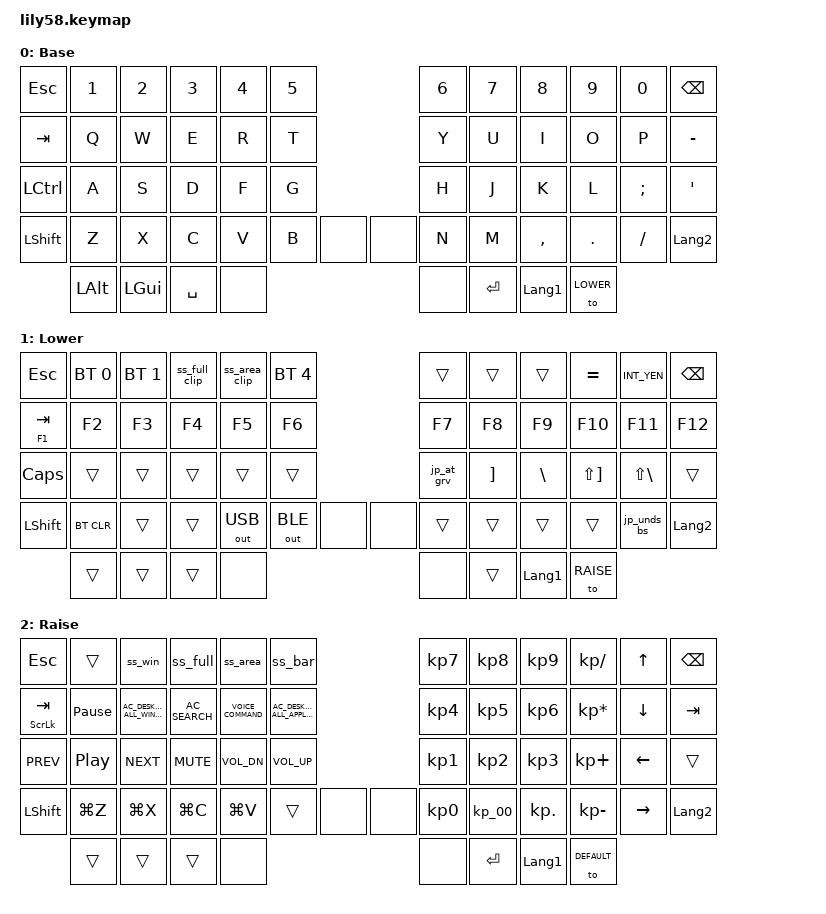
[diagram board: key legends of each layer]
/*
 * Silakka54 Mac + JIS向け（記号は Windows JIS の出し方に寄せる）
 *
 * Macのキーボード種別は「JIS」推奨。
 * ` = LOWER + Shift + @
 * \ = LOWER + Shift + _
 *
 * レイヤー切替（長押しなし・1キー順送り）:
 *   右親指外側「レイヤー」= Base → LOWER → RAISE → Base
 *   右上端 = Backspace（小指）
 * 英数 = 右手 Shift 位置（Base/LOWER/RAISE とも同じ）
 * 左Shift = 左手 Shift 位置（全レイヤー共通）
 * Ctrl = Aの左（Base）
 * Caps = LOWER の左端（A左）
 * かな = 右親指まん中
 * Tab = 短押しTab（全層）／長押し = LOWERでF1、RAISEで輝度-（Baseは長押しなし）
 *   RAISE右手↓右のTabは短押しのみ（テンキー用）
 * やり直しは Shift+戻す（Shift+⌘+Z）
 * LOWER 左手4段目 V/B = USB強制 / BLE強制（左手だけで出力切替）
 *
 * RAISE 左手3段目 = 再生系・消音・音量
 * RAISE 右手左4列 = テンキー（7 8 9 / / 4 5 6 * / 1 2 3 + / 0 00 . -）
 */

#include <behaviors.dtsi>
#include <dt-bindings/zmk/keys.h>
#include <dt-bindings/zmk/bt.h>
#include <dt-bindings/zmk/outputs.h>

#define DEFAULT 0
#define LOWER   1
#define RAISE   2

// Macキーボード種別=JIS のとき、意図した文字になるHID
#define JP_YEN   INT_YEN              // ¥
#define JP_PIPE  LS(INT_YEN)          // |
#define JP_AT    LEFT_BRACKET         // @
#define JP_LBRC  RIGHT_BRACKET        // [
#define JP_RBRC  BACKSLASH            // ]
#define JP_LCBR  LS(RIGHT_BRACKET)    // {
#define JP_RCBR  LS(BACKSLASH)        // }
#define JP_UNDS  LS(INT_RO)           // _（ろキー相当・Baseに無い）
// Mac JIS では \ は ⌥+¥。INT_RO（Windowsの\）では Mac に \ が出ない
#define JP_BSLS  LA(INT_YEN)          // \（Mac: Option+¥／操作は Shift+_）
#define JP_COLN  SINGLE_QUOTE         // :
#define JP_CIRC  EQUAL                // ^（Baseに^キーが無い）
#define JP_GRV   LS(LEFT_BRACKET)     // `（Windows JIS: Shift+@）
#define JP_KANA  LANGUAGE_1
#define JP_EISU  LANGUAGE_2

/ {
    behaviors {
        // 短押し優先の hold-tap（第1引数=長押し、第2引数=短押し）
        ht_tab: ht_tab {
            compatible = "zmk,behavior-hold-tap";
            #binding-cells = <2>;
            flavor = "tap-preferred";
            tapping-term-ms = <200>;
            quick-tap-ms = <150>;
            bindings = <&kp>, <&kp>;
        };
        // @ / `（Shiftでバッククォート）
        jp_at_grv: jp_at_grv {
            compatible = "zmk,behavior-mod-morph";
            #binding-cells = <0>;
            bindings = <&kp JP_AT>, <&kp JP_GRV>;
            mods = <(MOD_LSFT|MOD_RSFT)>;
        };
        // _ / \（見た目は Windows JIS: Shift+_ → \）
        // Mac 実体は Option+¥ を送る（INT_RO だと Mac では \ にならない）
        jp_unds_bs: jp_unds_bs {
            compatible = "zmk,behavior-mod-morph";
            #binding-cells = <0>;
            bindings = <&kp JP_UNDS>, <&kp JP_BSLS>;
            mods = <(MOD_LSFT|MOD_RSFT)>;
        };
    };

    macros {
        ss_full: ss_full {
            compatible = "zmk,behavior-macro";
            #binding-cells = <0>;
            bindings =
                <&macro_press &kp LSHFT &kp LGUI>,
                <&macro_tap &kp N3>,
                <&macro_release &kp LSHFT &kp LGUI>;
        };
        ss_area: ss_area {
            compatible = "zmk,behavior-macro";
            #binding-cells = <0>;
            bindings =
                <&macro_press &kp LSHFT &kp LGUI>,
                <&macro_tap &kp N4>,
                <&macro_release &kp LSHFT &kp LGUI>;
        };
        ss_bar: ss_bar {
            compatible = "zmk,behavior-macro";
            #binding-cells = <0>;
            bindings =
                <&macro_press &kp LSHFT &kp LGUI>,
                <&macro_tap &kp N5>,
                <&macro_release &kp LSHFT &kp LGUI>;
        };
        ss_full_clip: ss_full_clip {
            compatible = "zmk,behavior-macro";
            #binding-cells = <0>;
            bindings =
                <&macro_press &kp LCTRL &kp LSHFT &kp LGUI>,
                <&macro_tap &kp N3>,
                <&macro_release &kp LCTRL &kp LSHFT &kp LGUI>;
        };
        ss_area_clip: ss_area_clip {
            compatible = "zmk,behavior-macro";
            #binding-cells = <0>;
            bindings =
                <&macro_press &kp LCTRL &kp LSHFT &kp LGUI>,
                <&macro_tap &kp N4>,
                <&macro_release &kp LCTRL &kp LSHFT &kp LGUI>;
        };
        ss_win: ss_win {
            compatible = "zmk,behavior-macro";
            #binding-cells = <0>;
            bindings =
                <&macro_press &kp LSHFT &kp LGUI>,
                <&macro_tap &kp N4>,
                <&macro_release &kp LSHFT &kp LGUI>,
                <&macro_tap &kp SPACE>;
        };
        // テンキーの「00」
        kp_00: kp_00 {
            compatible = "zmk,behavior-macro";
            #binding-cells = <0>;
            bindings = <&macro_tap &kp KP_N0 &kp KP_N0>;
        };
    };

    keymap {
        compatible = "zmk,keymap";

        // Base
        // 右上=BS / 右親指外側=レイヤー→LOWER / A左=Ctrl / 右Shift位置=英数 / かな=親指まん中
        default_layer {
            display-name = "Base";
            bindings = <
&kp ESC        &kp N1 &kp N2 &kp N3 &kp N4 &kp N5                    &kp N6 &kp N7 &kp N8 &kp N9 &kp N0 &kp BSPC
&kp TAB        &kp Q  &kp W  &kp E  &kp R  &kp T                     &kp Y  &kp U  &kp I  &kp O  &kp P  &kp MINUS
&kp LCTRL      &kp A  &kp S  &kp D  &kp F  &kp G                     &kp H  &kp J  &kp K  &kp L  &kp SEMI &kp JP_COLN
&kp LSHFT      &kp Z  &kp X  &kp C  &kp V  &kp B  &none        &none &kp N  &kp M  &kp COMMA &kp DOT &kp FSLH &kp JP_EISU
               &kp LALT &kp LGUI &kp SPACE &none                 &none &kp ENTER &kp JP_KANA &to LOWER
            >;
        };

        // LOWER: Base+Shiftで出せない記号のみ（Windows JIS寄せ）+ CBスクショ + Caps
        // 省いた例: !"#$%&'()=~+*?  → Baseの Shift+数字 / ; : / -
        // | は Shift+¥ ／ ` は Shift+@ ／ \ は Shift+_（専用キーなし）
        // 右手上段: JIS数字列右端寄りに ^ ¥（⌫の直前）
        // 右手ホーム: @ [ ] { }（` は Shift+@）
        // 右手下段右: _（\ は Shift+_）
        // 左上は常にEsc（BT消は誤切断しやすいため下段Zへ移設）
        // Tab短押し=Tab／長押し=F1（F2〜F12は従来どおり）
        // 左手4段目 Z=BT消／V/B=USB/BLE（左手だけで無線復旧）
        // 右上=BS / 右親指外側=レイヤー→RAISE
        lower_layer {
            display-name = "Lower";
            bindings = <
&kp ESC        &bt BT_SEL 0 &bt BT_SEL 1 &ss_full_clip &ss_area_clip &bt BT_SEL 4    &trans &trans &trans &kp JP_CIRC &kp JP_YEN &kp BSPC
&ht_tab F1 TAB &kp F2       &kp F3       &kp F4        &kp F5        &kp F6          &kp F7 &kp F8 &kp F9 &kp F10 &kp F11 &kp F12
&kp CAPSLOCK   &trans       &trans       &trans        &trans        &trans          &jp_at_grv &kp JP_LBRC &kp JP_RBRC &kp JP_LCBR &kp JP_RCBR &trans
&kp LSHFT      &bt BT_CLR   &trans       &trans        &out OUT_USB  &out OUT_BLE &none &none &trans &trans &trans &trans &jp_unds_bs &kp JP_EISU
               &trans       &trans       &trans        &none                     &none &trans &kp JP_KANA &to RAISE
            >;
        };

        // RAISE:
        // 左手数字2〜5 = スクショ
        // 左手Q列 = Tab長押し=輝度-／輝度+・Mission等
        // 左手3段目 = 前へ/再生/次へ/消音/音量-/音量+
        // 左手下段 = 編集（やり直しは Shift+戻す）
        // 右手左4列 = テンキー / 5列目 = 矢印↑↓←→ / ↓右 = Tab短押し / 右上=BS
        //   7 8 9 /  ↑
        //   4 5 6 *  ↓ Tab
        //   1 2 3 +  ←
        //   0 00 . - →
        raise_layer {
            display-name = "Raise";
            bindings = <
&kp ESC        &trans            &ss_win      &ss_full     &ss_area     &ss_bar              &kp KP_N7 &kp KP_N8 &kp KP_N9 &kp KP_SLASH &kp UP &kp BSPC
&ht_tab SLCK TAB &kp PAUSE_BREAK &kp C_AC_DESKTOP_SHOW_ALL_WINDOWS &kp C_AC_SEARCH &kp C_VOICE_COMMAND &kp C_AC_DESKTOP_SHOW_ALL_APPLICATIONS    &kp KP_N4 &kp KP_N5 &kp KP_N6 &kp KP_ASTERISK &kp DOWN &kp TAB
&kp C_PREV     &kp C_PP          &kp C_NEXT   &kp C_MUTE   &kp C_VOL_DN &kp C_VOL_UP         &kp KP_N1 &kp KP_N2 &kp KP_N3 &kp KP_PLUS &kp LEFT &trans
&kp LSHFT      &kp LG(Z)         &kp LG(X)    &kp LG(C)    &kp LG(V)    &trans &none &none &kp KP_N0 &kp_00 &kp KP_DOT &kp KP_MINUS &kp RIGHT &kp JP_EISU
               &trans            &trans       &trans       &none                     &none &kp ENTER &kp JP_KANA &to DEFAULT
            >;
        };

        extra_1 { status = "reserved"; };
        extra_2 { status = "reserved"; };
        extra_3 { status = "reserved"; };
    };
};
